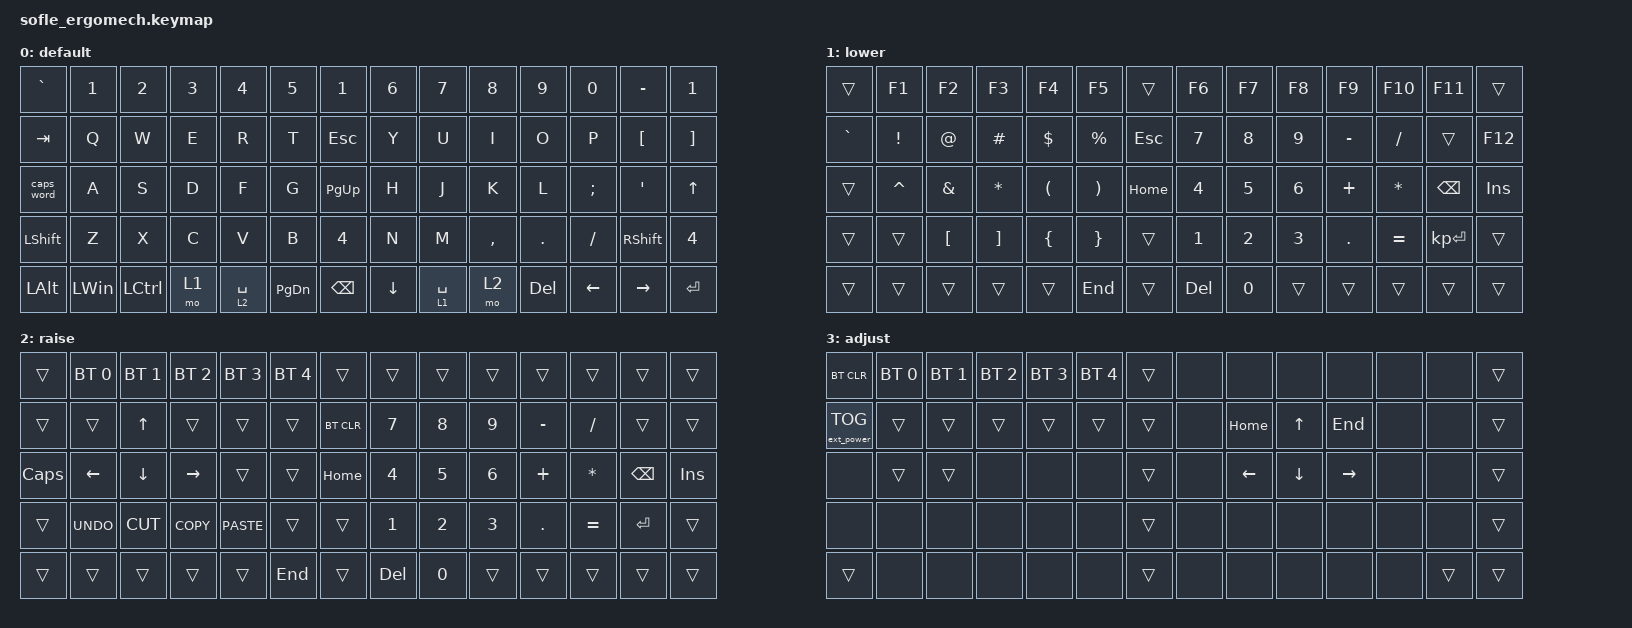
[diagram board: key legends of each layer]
/*
 * Copyright (c) 2020 The ZMK Contributors
 *
 * SPDX-License-Identifier: MIT
 */

#include <behaviors.dtsi>
#include <dt-bindings/zmk/bt.h>
#include <dt-bindings/zmk/ext_power.h>
#include <dt-bindings/zmk/keys.h>

#define BASE 0
#define LOWER 1
#define RAISE 2
#define ADJUST 3

/ {
    // Activate ADJUST layer by pressing raise and lower

    conditional_layers {
        compatible = "zmk,conditional-layers";

        adjust_layer {
            if-layers = <1 2>;
            then-layer = <3>;
        };
    };

    combos {
        compatible = "zmk,combos";

        langch {
            bindings = <&changelang>;
            key-positions = <36 37 38>;
        };

        backslash {
            bindings = <&kp BACKSLASH>;
            key-positions = <26 27>;
        };

        prntscreen {
            bindings = <&kp PRINTSCREEN>;
            key-positions = <34 61>;
        };

        chanlanglinux {
            bindings = <&kp LA(SPACE)>;
            key-positions = <35 36 37>;
        };

        altf4 {
            bindings = <&kp LA(F4)>;
            key-positions = <60 4>;
        };

        altf2 {
            bindings = <&kp LA(F2)>;
            key-positions = <60 2>;
        };

        altf5 {
            bindings = <&kp LA(F5)>;
            key-positions = <60 5>;
        };

        bspace {
            bindings = <&kp EQUAL>;
            key-positions = <11 12>;
        };
    };

    macros {
        changelang: changelang {
            compatible = "zmk,behavior-macro";
            #binding-cells = <0>;
            bindings = <&kp LC(LEFT_SHIFT)>;
            label = "CHANGELANG";
        };
    };

    keymap {
        compatible = "zmk,keymap";

        default_layer {
            label = "default";

            // ------------------------------------------------------------------------------------------------------------
            // |   `   |  1  |  2  |  3   |  4   |  5   |                   |  6   |  7    |  8    |  9   |   0   |       |
            // |  ESC  |  Q  |  W  |  E   |  R   |  T   |                   |  Y   |  U    |  I    |  O   |   P   | BKSPC |
            // |  TAB  |  A  |  S  |  D   |  F   |  G   |                   |  H   |  J    |  K    |  L   |   ;   |   '   |
            // | SHIFT |  Z  |  X  |  C   |  V   |  B   |  MUTE  |  |       |  N   |  M    |  ,    |  .   |   /   | SHIFT |
            //               | GUI | ALT  | CTRL | LOWER|  ENTER |  | SPACE | RAISE| CTRL  | ALT   | GUI  |

            bindings = <
&kp GRAVE     &kp N1        &kp N2     &kp N3  &kp N4       &kp N5     &kp NUMBER_1   &kp N6    &kp N7       &kp N8     &kp N9      &kp N0          &kp MINUS         &kp NUMBER_1
&kp TAB       &kp Q         &kp W      &kp E   &kp R        &kp T      &kp ESCAPE     &kp Y     &kp U        &kp I      &kp O       &kp P           &kp LEFT_BRACKET  &kp RIGHT_BRACKET
&caps_word    &kp A         &kp S      &kp D   &kp F        &kp G      &kp PG_UP      &kp H     &kp J        &kp K      &kp L       &kp SEMI        &kp SQT           &kp UP_ARROW
&kp LSHFT     &kp Z         &kp X      &kp C   &kp V        &kp B      &kp NUMBER_4   &kp N     &kp M        &kp COMMA  &kp DOT     &kp FSLH        &kp RSHFT         &kp NUMBER_4
&kp LEFT_ALT  &kp LEFT_WIN  &kp LCTRL  &mo 1   &lt 2 SPACE  &kp PG_DN  &kp BACKSPACE  &kp DOWN  &lt 1 SPACE  &mo 2      &kp DELETE  &kp LEFT_ARROW  &kp RIGHT_ARROW   &kp ENTER
            >;
        };

        lower_layer {
            label = "lower";

            // TODO: Some binds are waiting for shifted keycode support.
            // ------------------------------------------------------------------------------------------------------------
            // |       |  F1 |  F2 |  F3  |  F4  |  F5  |                   |  F6  |  F7   |  F8   |  F9  |  F10  |  F11  |
            // |   `   |  1  |  2  |  3   |  4   |  5   |                   |  6   |  7    |  8    |  9   |   0   |  F12  |
            // |       |  !  |  @  |  #   |  $   |  %   |                   |  ^   |  &    |  *    |  (   |   )   |   |   |
            // |       |  =  |  -  |  +   |  {   |  }   |        |  |       |  [   |  ]    |  ;    |  :   |   \   |       |
            //               |     |      |      |      |        |  |       |      |       |       |      |

            bindings = <
&trans     &kp F1           &kp F2            &kp F3             &kp F4                &kp F5                 &trans      &kp F6        &kp F7        &kp F8        &kp F9      &kp F10       &kp F11        &trans
&kp GRAVE  &kp EXCLAMATION  &kp AT_SIGN       &kp HASH           &kp DOLLAR            &kp PERCENT            &kp ESCAPE  &kp N7        &kp N8        &kp N9        &kp MINUS   &kp SLASH     &trans         &kp F12
&trans     &kp CARET        &kp AMPERSAND     &kp ASTERISK       &kp LEFT_PARENTHESIS  &kp RIGHT_PARENTHESIS  &kp HOME    &kp NUMBER_4  &kp N5        &kp NUMBER_6  &kp PLUS    &kp ASTERISK  &kp BACKSPACE  &kp INSERT
&trans     &trans           &kp LEFT_BRACKET  &kp RIGHT_BRACKET  &kp LEFT_BRACE        &kp RBRC               &trans      &kp NUMBER_1  &kp NUMBER_2  &kp NUMBER_3  &kp PERIOD  &kp EQUAL     &kp KP_ENTER   &trans
&trans     &trans           &trans            &trans             &trans                &kp END                &trans      &kp DELETE    &kp N0        &trans        &trans      &trans        &trans         &trans
            >;
        };

        raise_layer {
            label = "raise";

            // ------------------------------------------------------------------------------------------------------------
            // | BTCLR | BT1  | BT2  |  BT3  |  BT4  |  BT5 |                |      |      |       |      |       |       |
            // |       | INS  | PSCR | GUI   |       |      |                | PGUP |      |   ^   |      |       |       |
            // |       | ALT  | CTRL | SHIFT |       | CAPS |                | PGDN |   <- |   v   |  ->  |  DEL  | BKSPC |
            // |       | UNDO | CUT  | COPY  | PASTE |      |      |  |      |      |      |       |      |       |       |
            //                |      |       |       |      |      |  |      |      |      |       |      |

            bindings = <
&trans        &bt BT_SEL 0    &bt BT_SEL 1    &bt BT_SEL 2     &bt BT_SEL 3  &bt BT_SEL 4  &trans      &trans        &trans        &trans        &trans      &trans        &trans     &trans
&trans        &trans          &kp UP_ARROW    &trans           &trans        &trans        &bt BT_CLR  &kp N7        &kp N8        &kp N9        &kp MINUS   &kp SLASH     &trans     &trans
&kp CAPSLOCK  &kp LEFT_ARROW  &kp DOWN_ARROW  &kp RIGHT_ARROW  &trans        &trans        &kp HOME    &kp NUMBER_4  &kp N5        &kp NUMBER_6  &kp PLUS    &kp ASTERISK  &kp BSPC   &kp INSERT
&trans        &kp K_UNDO      &kp K_CUT       &kp K_COPY       &kp K_PASTE   &trans        &trans      &kp NUMBER_1  &kp NUMBER_2  &kp NUMBER_3  &kp PERIOD  &kp EQUAL     &kp ENTER  &trans
&trans        &trans          &trans          &trans           &trans        &kp END       &trans      &kp DELETE    &kp N0        &trans        &trans      &trans        &trans     &trans
            >;
        };

        adjust_layer {
            // ----------------------------------------------------------------------------------------------------------------------------
            // | BTCLR  |  BT1    |  BT2    |   BT3   |   BT4   |   BT5   |                  |      |      |       |      |       |       |
            // | EXTPWR | RGB_HUD | RGB_HUI | RGB_SAD | RGB_SAI | RGB_EFF |                  |      |      |       |      |       |       |
            // |        | RGB_BRD | RGB_BRI |         |         |         |                  |      |      |       |      |       |       |
            // |        |         |         |         |         |         | RGB_TOG | |      |      |      |       |      |       |       |
            //                    |         |         |         |         |         | |      |      |      |       |      |

            label = "adjust";
            bindings = <
&bt BT_CLR         &bt BT_SEL 0  &bt BT_SEL 1  &bt BT_SEL 2  &bt BT_SEL 3  &bt BT_SEL 4  &trans  &none  &none           &none           &none            &none  &none   &trans
&ext_power EP_TOG  &trans        &trans        &trans        &trans        &trans        &trans  &none  &kp HOME        &kp UP_ARROW    &kp END          &none  &none   &trans
&none              &trans        &trans        &none         &none         &none         &trans  &none  &kp LEFT_ARROW  &kp DOWN_ARROW  &kp RIGHT_ARROW  &none  &none   &trans
&none              &none         &none         &none         &none         &none         &trans  &none  &none           &none           &none            &none  &none   &trans
&trans             &none         &none         &none         &none         &none         &trans  &none  &none           &none           &none            &none  &trans  &trans
            >;
        };
    };
};
